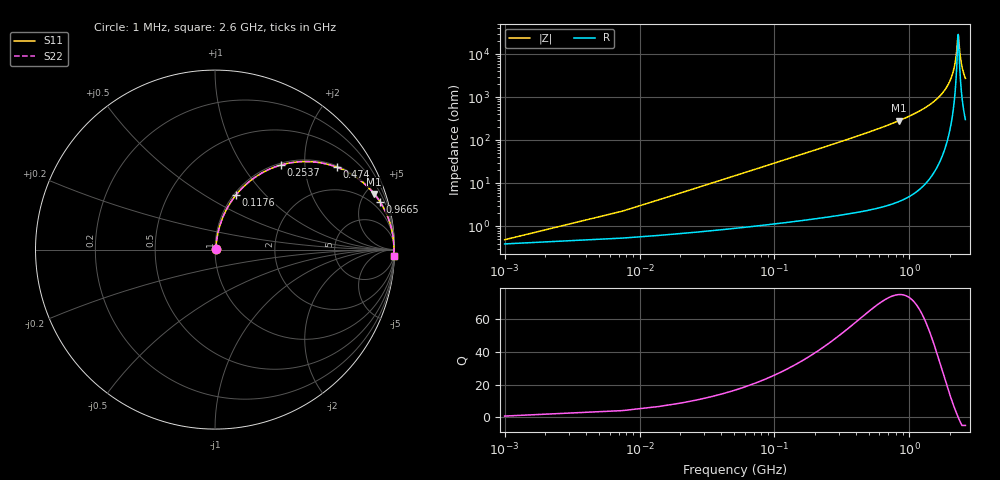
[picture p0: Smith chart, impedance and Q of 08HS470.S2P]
! Coilcraft 0805HS-470 Chip Inductor
! 13 June 2002
# MHZ S MA R 50
!Freq  MagS11  AngS11  MagS21  AngS21  MagS12  AngS12  MagS22  AngS22
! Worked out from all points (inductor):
!   403 points, 1 MHz to 2.6 GHz, reference 50 ohm
!   read as one part in series: L = 47 nH near 13.96 MHz
!   highest Q = 75.3 at 836.9 MHz (marker M1), where L = 54.2 nH
!   self-resonance near 2.295 GHz
!   S11 on the Smith chart (normalised r, x): 1 MHz: 1.01, +0.01; 117.6 MHz: 1.02, +0.70; 253.7 MHz: 1.03, +1.52; 474 MHz: 1.05, +2.92; 966.5 MHz: 1.09, +6.93; 2.6 GHz: 7, -54
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1  0.004897 36.7  0.9961 -0.2  0.9961 -0.2  0.004897 36.7
20.44  0.06023 80.1  0.9914 -3.4  0.9914 -3.4  0.06023 80.1
33.4  0.09773 79.8  0.9874 -5.6  0.9874 -5.6  0.09773 79.8
65.8  0.1893 76.2  0.9724 -10.9  0.9724 -10.9  0.1893 76.2
117.64  0.3256 69.0  0.9342 -19.0  0.9342 -19.0  0.3256 69.0
253.72  0.5981 52.0  0.7884 -36.7  0.7884 -36.7  0.5981 52.0
435.16  0.7937 36.5  0.5954 -52.5  0.5954 -52.5  0.7937 36.5
474.04  0.8194 34.1  0.5604 -55.0  0.5604 -55.0  0.8194 34.1
836.92  0.9397 19.3  0.3298 -70.0  0.3298 -70.0  0.9397 19.3
869.32  0.9448 18.4  0.3154 -70.9  0.3154 -70.9  0.9448 18.4
966.52  0.9574 16.0  0.2761 -73.2  0.2761 -73.2  0.9574 16.0
1303.48  0.982 10.0  0.1731 -79.1  0.1731 -79.1  0.982 10.0
1737.64  0.9937 4.8  0.08305 -83.3  0.08305 -83.3  0.9937 4.8
2003.32  0.9961 2.3  0.04062 -83.4  0.04062 -83.4  0.9961 2.3
2171.8  0.9966 1.0  0.01702 -78.0  0.01702 -78.0  0.9966 1.0
2223.64  0.9966 0.6  0.01033 -70.6  0.01033 -70.6  0.9966 0.6
2281.96  0.9966 0.1  0.004062 -32.3  0.004062 -32.3  0.9966 0.1
2301.4  0.9965 -0.0  0.003475 5.1  0.003475 5.1  0.9965 -0.0
2366.2  0.9964 -0.5  0.009184 66.6  0.009184 66.6  0.9964 -0.5
2418.04  0.9962 -0.8  0.01527 75.2  0.01527 75.2  0.9962 -0.8
2495.8  0.9959 -1.4  0.02442 79.6  0.02442 79.6  0.9959 -1.4
2600  0.9953 -2.1  0.03638 81.6  0.03638 81.6  0.9953 -2.1
